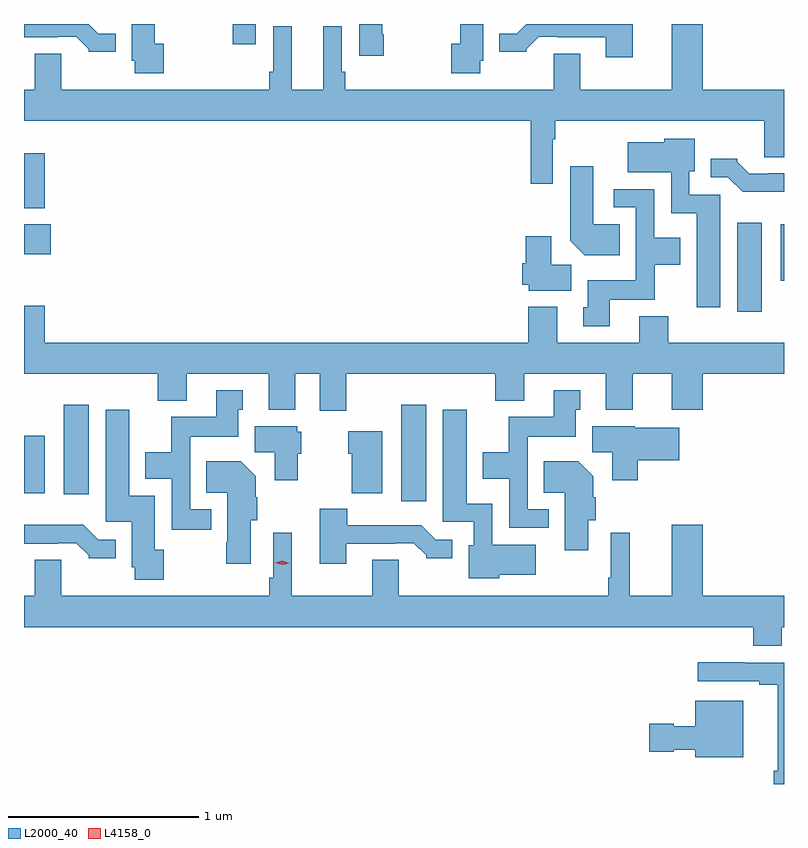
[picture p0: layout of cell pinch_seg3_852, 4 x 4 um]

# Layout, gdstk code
import gdstk
lib = gdstk.Library(unit=1e-6, precision=1e-09)
def R(c, l, rs):  # rectangles x0, y0, x1, y1
    for r in rs: c.add(gdstk.rectangle(r[:2], r[2:], *l))
def P(c, l, *ps):  # polygons
    for p in ps: c.add(gdstk.Polygon(p, *l))
L2000_40 = (2000, 40)
L4158_0 = (4158, 0)

pinch_seg3_852 = lib.new_cell('pinch_seg3_852')
R(pinch_seg3_852, L2000_40, [(691.058,674.937,691.189,675.445), (689.282,674.976,689.413,675.445), (689.072,674.981,689.182,675.283), (692.825,675.936,692.956,676.405), (693.056,676.098,693.072,676.396), (689.072,676.238,689.212,676.396), (689.072,676.481,689.18,676.771), (690.17,677.343,690.292,677.45)])
P(pinch_seg3_852, L2000_40, [(691.854,676.844),(691.867,676.844),(691.867,676.94),(692.969,676.94),(692.969,676.75),(693.072,676.75),(693.072,677.104),(692.644,677.104),(692.644,677.45),(692.48,677.45),(692.48,677.104),(691.999,677.104),(691.999,677.294),(691.859,677.294),(691.859,677.104),(690.764,677.104),(690.764,677.2),(690.744,677.2),(690.744,677.437),(690.647,677.437),(690.647,677.104),(690.481,677.104),(690.481,677.437),(690.384,677.437),(690.384,677.2),(690.364,677.2),(690.364,677.104),(689.269,677.104),(689.269,677.294),(689.129,677.294),(689.129,677.104),(689.072,677.104),(689.072,676.94),(691.738,676.94),(691.738,676.608),(691.854,676.608)],
  [(692.275,677.45),(691.715,677.45),(691.665,677.4),(691.574,677.4),(691.574,677.303),(691.716,677.303),(691.716,677.318),(691.78,677.382),(691.879,677.382),(691.879,677.379),(692.135,677.379),(692.135,677.274),(692.275,677.274)],
  [(689.554,677.4),(689.463,677.4),(689.413,677.45),(689.072,677.45),(689.072,677.379),(689.249,677.379),(689.249,677.382),(689.348,677.382),(689.412,677.318),(689.412,677.303),(689.554,677.303)],
  [(689.808,677.346),(689.761,677.346),(689.761,677.45),(689.639,677.45),(689.639,677.256),(689.656,677.256),(689.656,677.19),(689.808,677.19)],
  [(690.966,677.395),(690.958,677.395),(690.958,677.45),(690.836,677.45),(690.836,677.283),(690.966,677.283)],
  [(691.473,677.256),(691.489,677.256),(691.489,677.45),(691.367,677.45),(691.367,677.346),(691.321,677.346),(691.321,677.19),(691.473,677.19)],
  [(692.737,676.551),(692.574,676.551),(692.574,676.674),(692.602,676.674),(692.602,676.846),(692.442,676.846),(692.442,676.828),(692.25,676.828),(692.25,676.67),(692.478,676.67),(692.478,676.454),(692.612,676.454),(692.612,675.96),(692.737,675.96)],
  [(693.072,676.665),(692.989,676.665),(692.989,676.662),(692.89,676.662),(692.826,676.726),(692.826,676.741),(692.687,676.741),(692.687,676.644),(692.775,676.644),(692.854,676.566),(693.072,676.566)],
  [(692.207,676.396),(692.068,676.396),(692.068,676.702),(691.946,676.702),(691.946,676.31),(692.024,676.232),(692.207,676.232)],
  [(692.155,675.998),(692.391,675.998),(692.391,676.184),(692.527,676.184),(692.527,676.324),(692.388,676.324),(692.388,676.581),(692.175,676.581),(692.175,676.485),(692.292,676.485),(692.292,676.102),(692.039,676.102),(692.039,675.96),(692.015,675.96),(692.015,675.858),(692.155,675.858)],
  [(691.951,676.184),(691.846,676.184),(691.846,676.333),(691.712,676.333),(691.712,676.191),(691.694,676.191),(691.694,676.077),(691.728,676.077),(691.728,676.046),(691.951,676.046)],
  [(692.48,675.42),(692.644,675.42),(692.644,675.608),(693.072,675.608),(693.072,675.772),(692.462,675.772),(692.462,675.913),(692.309,675.913),(692.309,675.772),(691.879,675.772),(691.879,675.961),(691.727,675.961),(691.727,675.772),(689.18,675.772),(689.18,675.967),(689.072,675.967),(689.072,675.608),(689.777,675.608),(689.777,675.467),(689.929,675.467),(689.929,675.608),(690.359,675.608),(690.359,675.419),(690.499,675.419),(690.499,675.608),(690.629,675.608),(690.629,675.414),(690.769,675.414),(690.769,675.608),(691.553,675.608),(691.553,675.467),(691.705,675.467),(691.705,675.608),(692.135,675.608),(692.135,675.419),(692.275,675.419),(692.275,675.608),(692.48,675.608)],
  [(690.058,674.895),(689.946,674.895),(689.946,675.278),(690.199,675.278),(690.199,675.42),(690.223,675.42),(690.223,675.523),(690.083,675.523),(690.083,675.382),(689.848,675.382),(689.848,675.196),(689.711,675.196),(689.711,675.056),(689.85,675.056),(689.85,674.787),(690.058,674.787)],
  [(691.834,674.895),(691.722,674.895),(691.722,675.278),(691.975,675.278),(691.975,675.42),(691.999,675.42),(691.999,675.523),(691.859,675.523),(691.859,675.382),(691.624,675.382),(691.624,675.196),(691.487,675.196),(691.487,675.056),(691.626,675.056),(691.626,674.799),(691.834,674.799)],
  [(689.808,674.682),(689.761,674.682),(689.761,674.968),(689.626,674.968),(689.626,675.421),(689.501,675.421),(689.501,674.829),(689.639,674.829),(689.639,674.592),(689.656,674.592),(689.656,674.526),(689.808,674.526)],
  [(691.572,674.552),(691.765,674.552),(691.765,674.71),(691.536,674.71),(691.536,674.926),(691.402,674.926),(691.402,675.421),(691.277,675.421),(691.277,674.829),(691.44,674.829),(691.44,674.706),(691.412,674.706),(691.412,674.534),(691.572,674.534)],
  [(692.303,675.155),(692.521,675.155),(692.521,675.325),(692.286,675.325),(692.286,675.334),(692.063,675.334),(692.063,675.196),(692.168,675.196),(692.168,675.048),(692.303,675.048)],
  [(690.514,675.189),(690.532,675.189),(690.532,675.303),(690.51,675.303),(690.51,675.334),(690.287,675.334),(690.287,675.196),(690.392,675.196),(690.392,675.048),(690.514,675.048)],
  [(690.958,675.307),(690.779,675.307),(690.779,675.189),(690.796,675.189),(690.796,674.981),(690.958,674.981)],
  [(690.265,674.838),(690.3,674.838),(690.3,674.96),(690.292,674.96),(690.292,675.07),(690.214,675.148),(690.031,675.148),(690.031,674.984),(690.143,674.984),(690.143,674.722),(690.136,674.722),(690.136,674.61),(690.265,674.61)],
  [(692.041,674.838),(692.081,674.838),(692.081,674.96),(692.068,674.96),(692.068,675.07),(691.99,675.148),(691.807,675.148),(691.807,674.984),(691.919,674.984),(691.919,674.679),(692.041,674.679)],
  [(690.769,674.715),(691.025,674.715),(691.025,674.718),(691.124,674.718),(691.188,674.654),(691.188,674.639),(691.327,674.639),(691.327,674.736),(691.239,674.736),(691.163,674.812),(690.772,674.812),(690.772,674.899),(690.629,674.899),(690.629,674.61),(690.769,674.61)],
  [(693.06,674.276),(693.072,674.276),(693.072,674.44),(692.644,674.44),(692.644,674.815),(692.48,674.815),(692.48,674.44),(692.259,674.44),(692.259,674.773),(692.16,674.773),(692.16,674.536),(692.148,674.536),(692.148,674.44),(691.045,674.44),(691.045,674.63),(690.905,674.63),(690.905,674.44),(690.481,674.44),(690.481,674.773),(690.384,674.773),(690.384,674.536),(690.364,674.536),(690.364,674.44),(689.269,674.44),(689.269,674.63),(689.129,674.63),(689.129,674.44),(689.072,674.44),(689.072,674.276),(692.909,674.276),(692.909,674.178),(693.06,674.178)],
  [(689.554,674.736),(689.463,674.736),(689.385,674.815),(689.072,674.815),(689.072,674.715),(689.249,674.715),(689.249,674.718),(689.348,674.718),(689.412,674.654),(689.412,674.639),(689.554,674.639)],
  [(693.072,674.088),(692.865,674.088),(692.865,674.09),(692.619,674.09),(692.619,673.992),(692.942,673.992),(692.942,673.972),(693.038,673.972),(693.038,673.519),(693.019,673.519),(693.019,673.45),(693.072,673.45)],
  [(692.857,673.888),(692.606,673.888),(692.606,673.753),(692.493,673.753),(692.493,673.766),(692.364,673.766),(692.364,673.619),(692.493,673.619),(692.493,673.631),(692.606,673.631),(692.606,673.592),(692.857,673.592)])
P(pinch_seg3_852, L4158_0, [(690.431,674.604),(690.395,674.614),(690.395,674.614),(690.395,674.614),(690.432,674.624),(690.468,674.613),(690.468,674.613),(690.468,674.613)])

lib.write_gds('pinch_seg3_852.gds')
